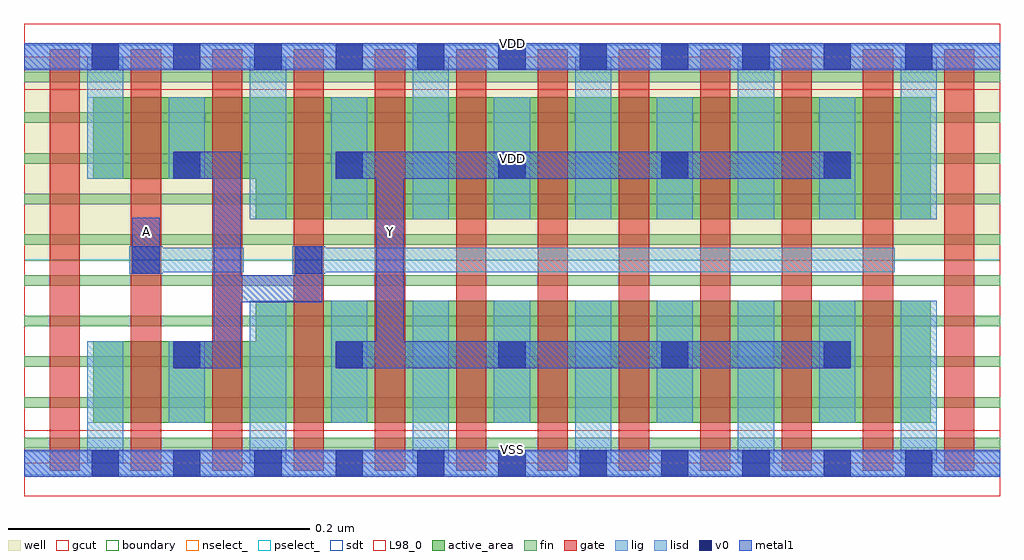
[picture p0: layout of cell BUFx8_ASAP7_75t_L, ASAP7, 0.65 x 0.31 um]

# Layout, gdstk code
import gdstk
lib = gdstk.Library(unit=1e-6, precision=2.5e-10)
def R(c, l, rs):  # rectangles x0, y0, x1, y1
    for r in rs: c.add(gdstk.rectangle(r[:2], r[2:], *l))
def A(c, l, x, y, w, h, nx, ny, dx, dy):  # array of equal rectangles
    R(c, l, [(x+i*dx, y+j*dy, x+i*dx+w, y+j*dy+h) for i in range(nx) for j in range(ny)])
def P(c, l, *ps):  # polygons
    for p in ps: c.add(gdstk.Polygon(p, *l))
well = (1, 0)
fin = (2, 0)
gate = (7, 0)
gcut = (10, 0)
active_area = (11, 0)
nselect_ = (12, 0)
pselect_ = (13, 0)
lig = (16, 0)
lisd = (17, 0)
v0 = (18, 0)
metal1 = (19, 0)
sdt = (88, 0)
L98_0 = (98, 0)
boundary = (100, 0)

bufx8_asap7_75t_l = lib.new_cell('BUFx8_ASAP7_75t_L')
R(bufx8_asap7_75t_l, well, [(0,0.135,0.648,0.27)])
A(bufx8_asap7_75t_l, fin, 0, 0.01, 0.648, 0.007, 1, 10, 0, 0.027)
A(bufx8_asap7_75t_l, gate, 0.017, -0.005, 0.02, 0.28, 12, 1, 0.054, 0)
R(bufx8_asap7_75t_l, gcut, [(0,-0.022,0.648,0.022), (0,0.248,0.648,0.292)])
P(bufx8_asap7_75t_l, active_area, [(0.154,0.081),(0.046,0.081),(0.046,0.027),(0.602,0.027),(0.602,0.108),(0.154,0.108)],
  [(0.046,0.189),(0.154,0.189),(0.154,0.162),(0.602,0.162),(0.602,0.243),(0.046,0.243)])
R(bufx8_asap7_75t_l, nselect_, [(0,0,0.648,0.135)])
R(bufx8_asap7_75t_l, pselect_, [(0,0.135,0.648,0.27)])
R(bufx8_asap7_75t_l, lig, [(0,-0.008,0.648,0.008), (0.07,0.126,0.092,0.144), (0.178,0.126,0.2,0.144), (0.07,0.127,0.146,0.143), (0.178,0.127,0.578,0.143), (0,0.262,0.648,0.278)])
A(bufx8_asap7_75t_l, lisd, 0.204, 0.027, 0.024, 0.081, 4, 2, 0.108, 0.135)
R(bufx8_asap7_75t_l, lisd, [(0.042,0,0.066,0.081), (0.042,0,0.066,0.081), (0.15,0,0.174,0.108), (0.15,0,0.174,0.108), (0.258,0,0.282,0.108), (0.258,0,0.282,0.108), (0.366,0,0.39,0.108), (0.366,0,0.39,0.108), (0.474,0,0.498,0.108), (0.474,0,0.498,0.108), (0.582,0,0.606,0.108), (0.582,0,0.606,0.108), (0.096,0.027,0.12,0.081), (0.15,0.162,0.174,0.27), (0.15,0.162,0.174,0.27), (0.258,0.162,0.282,0.27), (0.258,0.162,0.282,0.27), (0.366,0.162,0.39,0.27), (0.366,0.162,0.39,0.27), (0.474,0.162,0.498,0.27), (0.474,0.162,0.498,0.27), (0.582,0.162,0.606,0.27), (0.582,0.162,0.606,0.27), (0.042,0.189,0.066,0.27), (0.042,0.189,0.066,0.27), (0.096,0.189,0.12,0.243)])
A(bufx8_asap7_75t_l, v0, 0.045, -0.009, 0.018, 0.018, 11, 2, 0.054, 0.27)
A(bufx8_asap7_75t_l, v0, 0.099, 0.063, 0.018, 0.018, 5, 2, 0.108, 0.126)
R(bufx8_asap7_75t_l, v0, [(0.072,0.126,0.09,0.144), (0.18,0.126,0.198,0.144)])
A(bufx8_asap7_75t_l, metal1, 0.099, 0.063, 0.018, 0.018, 5, 2, 0.108, 0.126)
R(bufx8_asap7_75t_l, metal1, [(0,-0.009,0.648,0.009), (0.072,0.126,0.09,0.144), (0.072,0.126,0.09,0.163), (0.18,0.126,0.198,0.144), (0,0.261,0.648,0.279)])
P(bufx8_asap7_75t_l, metal1, [(0.198,0.144),(0.18,0.144),(0.18,0.125),(0.144,0.125),(0.144,0.207),(0.099,0.207),(0.099,0.189),(0.126,0.189),(0.126,0.081),(0.099,0.081),(0.099,0.063),(0.144,0.063),(0.144,0.107),(0.198,0.107)],
  [(0.549,0.207),(0.207,0.207),(0.207,0.189),(0.234,0.189),(0.234,0.081),(0.207,0.081),(0.207,0.063),(0.549,0.063),(0.549,0.081),(0.252,0.081),(0.252,0.189),(0.549,0.189)])
A(bufx8_asap7_75t_l, sdt, 0.15, 0.027, 0.024, 0.081, 3, 2, 0.054, 0.135)
A(bufx8_asap7_75t_l, sdt, 0.258, 0.027, 0.024, 0.081, 3, 2, 0.054, 0.135)
A(bufx8_asap7_75t_l, sdt, 0.366, 0.027, 0.024, 0.081, 3, 2, 0.054, 0.135)
A(bufx8_asap7_75t_l, sdt, 0.474, 0.027, 0.024, 0.081, 3, 2, 0.054, 0.135)
R(bufx8_asap7_75t_l, sdt, [(0.042,0.027,0.066,0.081), (0.042,0.027,0.066,0.081), (0.096,0.027,0.12,0.081), (0.15,0.027,0.174,0.108), (0.582,0.027,0.606,0.108), (0.15,0.162,0.174,0.243), (0.582,0.162,0.606,0.243), (0.042,0.189,0.066,0.243), (0.042,0.189,0.066,0.243), (0.096,0.189,0.12,0.243)])
R(bufx8_asap7_75t_l, L98_0, [(0,0,0.648,0.27)])
R(bufx8_asap7_75t_l, boundary, [(0,0,0.648,0.27)])
bufx8_asap7_75t_l.add(gdstk.Label('VDD', (0.324,0.2025), layer=1, texttype=251))
bufx8_asap7_75t_l.add(gdstk.Label('VSS', (0.324,-0.0675), layer=3, texttype=251))
bufx8_asap7_75t_l.add(gdstk.Label('VSS', (0.324,0.009), layer=19, texttype=251))
bufx8_asap7_75t_l.add(gdstk.Label('VDD', (0.324,0.279), layer=19, texttype=251))
bufx8_asap7_75t_l.add(gdstk.Label('A', (0.081,0.154), layer=19, texttype=251))
bufx8_asap7_75t_l.add(gdstk.Label('Y', (0.243,0.154), layer=19, texttype=251))

lib.write_gds('BUFx8_ASAP7_75t_L.gds')
